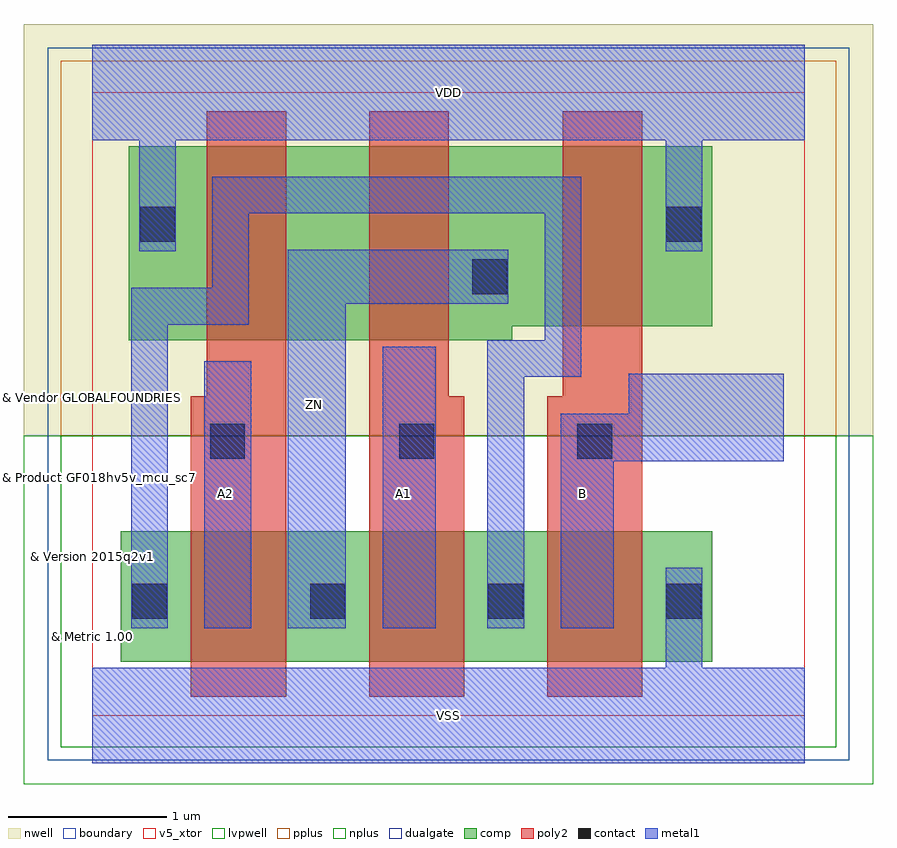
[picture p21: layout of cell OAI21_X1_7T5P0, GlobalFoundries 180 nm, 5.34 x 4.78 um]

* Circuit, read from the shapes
.subckt OAI21_X1_7T5P0 A1 A2 B VDD VSS ZN
XM1 ZN A2 n1 VSUBS nfet_05v0 w=0.82u l=0.6u
XM2 n1 A1 ZN VSUBS nfet_05v0 w=0.82u l=0.6u
XM3 VSS B n1 VSUBS nfet_05v0 w=0.82u l=0.6u
XM4 n2 A2 VDD n3 pfet_05v0 w=1.22u l=0.5u
XM5 ZN A1 n2 n3 pfet_05v0 w=1.22u l=0.5u
XM6 VDD B ZN n3 pfet_05v0 w=1.13u l=0.5u
.ends

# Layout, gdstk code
import gdstk
lib = gdstk.Library(unit=1e-6, precision=1e-09)
def R(c, l, rs):  # rectangles x0, y0, x1, y1
    for r in rs: c.add(gdstk.rectangle(r[:2], r[2:], *l))
def A(c, l, x, y, w, h, nx, ny, dx, dy):  # array of equal rectangles
    R(c, l, [(x+i*dx, y+j*dy, x+i*dx+w, y+j*dy+h) for i in range(nx) for j in range(ny)])
def P(c, l, *ps):  # polygons
    for p in ps: c.add(gdstk.Polygon(p, *l))
boundary = (0, 0)
nwell = (21, 0)
comp = (22, 0)
poly2 = (30, 0)
pplus = (31, 0)
nplus = (32, 0)
contact = (33, 0)
metal1 = (34, 0)
dualgate = (55, 0)
v5_xtor = (112, 1)
lvpwell = (204, 0)

oai21_x1_7t5p0 = lib.new_cell('OAI21_X1_7T5P0')
R(oai21_x1_7t5p0, boundary, [(0,0,4.48,3.92)])
R(oai21_x1_7t5p0, nwell, [(-0.43,1.76,4.91,4.35)])
R(oai21_x1_7t5p0, comp, [(0.18,0.34,3.9,1.16)])
P(oai21_x1_7t5p0, comp, [(0.23,2.36),(2.64,2.36),(2.64,2.45),(3.9,2.45),(3.9,3.58),(0.23,3.58)])
P(oai21_x1_7t5p0, poly2, [(0.62,0.12),(1.22,0.12),(1.22,3.8),(0.72,3.8),(0.72,2.01),(0.62,2.01)],
  [(1.74,0.12),(2.34,0.12),(2.34,2.01),(2.24,2.01),(2.24,3.8),(1.74,3.8)],
  [(2.86,0.12),(3.46,0.12),(3.46,3.8),(2.96,3.8),(2.96,2.01),(2.86,2.01)])
R(oai21_x1_7t5p0, pplus, [(-0.2,1.76,4.68,4.12)])
R(oai21_x1_7t5p0, nplus, [(-0.2,-0.2,4.68,1.76)])
A(oai21_x1_7t5p0, contact, 0.25, 0.61, 0.22, 0.22, 4, 1, 1.12, 0)
R(oai21_x1_7t5p0, contact, [(0.74,1.615,0.96,1.835), (1.93,1.615,2.15,1.835), (3.05,1.615,3.27,1.835), (2.39,2.65,2.61,2.87), (0.3,2.98,0.52,3.2), (3.61,2.98,3.83,3.2)])
R(oai21_x1_7t5p0, metal1, [(0.705,0.55,1,2.23), (1.825,0.55,2.16,2.32)])
P(oai21_x1_7t5p0, metal1, [(1.23,0.55),(1.595,0.55),(1.595,2.59),(2.615,2.59),(2.615,2.93),(1.23,2.93)],
  [(0.245,0.55),(0.475,0.55),(0.475,1.16),(0.475,2.46),(0.985,2.46),(0.985,3.16),(2.845,3.16),(2.845,2.36),(2.485,2.36),(2.485,0.55),(2.715,0.55),(2.715,2.13),(3.075,2.13),(3.075,3.39),(0.755,3.39),(0.755,2.69),(0.245,2.69),(0.245,1.16)],
  [(2.945,0.55),(3.28,0.55),(3.28,1.6),(4.35,1.6),(4.35,2.15),(3.375,2.15),(3.375,1.9),(2.945,1.9)],
  [(0,-0.3),(4.48,-0.3),(4.48,0.3),(3.835,0.3),(3.835,0.93),(3.605,0.93),(3.605,0.3),(0,0.3)],
  [(0,3.62),(0.295,3.62),(0.295,2.92),(0.525,2.92),(0.525,3.62),(3.605,3.62),(3.605,2.92),(3.835,2.92),(3.835,3.62),(4.48,3.62),(4.48,4.22),(0,4.22)])
R(oai21_x1_7t5p0, dualgate, [(-0.28,-0.28,4.76,4.2)])
R(oai21_x1_7t5p0, v5_xtor, [(0,0,4.48,3.92)])
R(oai21_x1_7t5p0, lvpwell, [(-0.43,-0.43,4.91,1.76)])
oai21_x1_7t5p0.add(gdstk.Label('VDD', (2.24,3.92), layer=34, texttype=10))
oai21_x1_7t5p0.add(gdstk.Label('B', (3.08,1.4), layer=34, texttype=10))
oai21_x1_7t5p0.add(gdstk.Label('A2', (0.84,1.4), layer=34, texttype=10))
oai21_x1_7t5p0.add(gdstk.Label('ZN', (1.4,1.96), layer=34, texttype=10))
oai21_x1_7t5p0.add(gdstk.Label('A1', (1.96,1.4), layer=34, texttype=10))
oai21_x1_7t5p0.add(gdstk.Label('VSS', (2.24,0), layer=34, texttype=10))
oai21_x1_7t5p0.add(gdstk.Label('& Vendor GLOBALFOUNDRIES', (0,2), layer=63, texttype=63))
oai21_x1_7t5p0.add(gdstk.Label('& Product GF018hv5v_mcu_sc7', (0,1.5), layer=63, texttype=63))
oai21_x1_7t5p0.add(gdstk.Label('& Version 2015q2v1', (0,1), layer=63, texttype=63))
oai21_x1_7t5p0.add(gdstk.Label('& Metric 1.00', (0,0.5), layer=63, texttype=63))

lib.write_gds('OAI21_X1_7T5P0.gds')
